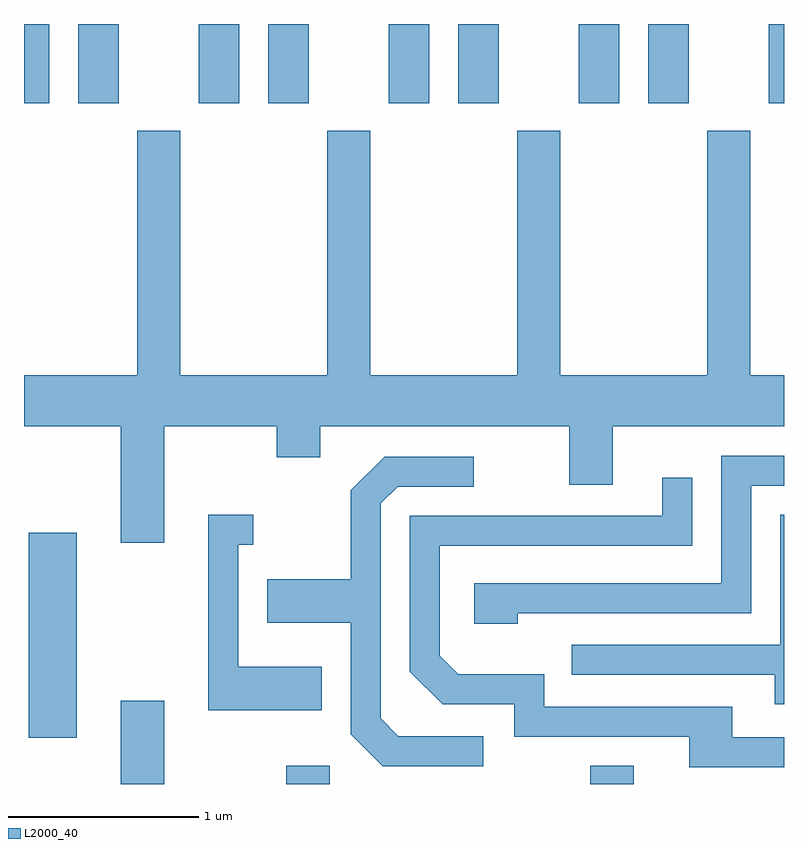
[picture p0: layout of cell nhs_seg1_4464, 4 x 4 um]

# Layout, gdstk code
import gdstk
lib = gdstk.Library(unit=1e-6, precision=1e-09)
def R(c, l, rs):  # rectangles x0, y0, x1, y1
    for r in rs: c.add(gdstk.rectangle(r[:2], r[2:], *l))
def P(c, l, *ps):  # polygons
    for p in ps: c.add(gdstk.Polygon(p, *l))
L2000_40 = (2000, 40)

nhs_seg1_4464 = lib.new_cell('nhs_seg1_4464')
R(nhs_seg1_4464, L2000_40, [(320.121,877.712,320.349,878.149), (320.991,877.712,321.219,877.809), (322.591,877.712,322.819,877.809), (319.636,877.956,319.889,879.034), (319.611,881.296,319.744,881.712), (319.896,881.296,320.109,881.712), (320.531,881.296,320.744,881.712), (320.896,881.296,321.109,881.712), (321.531,881.296,321.744,881.712), (321.896,881.296,322.109,881.712), (322.531,881.296,322.744,881.712), (322.896,881.296,323.109,881.712), (323.531,881.296,323.611,881.712)])
P(nhs_seg1_4464, L2000_40, [(320.349,879.596),(320.941,879.596),(320.941,879.431),(321.169,879.431),(321.169,879.596),(322.481,879.596),(322.481,879.286),(322.709,879.286),(322.709,879.596),(323.611,879.596),(323.611,879.864),(323.434,879.864),(323.434,881.149),(323.206,881.149),(323.206,879.864),(322.434,879.864),(322.434,881.149),(322.206,881.149),(322.206,879.864),(321.434,879.864),(321.434,881.149),(321.206,881.149),(321.206,879.864),(320.434,879.864),(320.434,881.149),(320.206,881.149),(320.206,879.864),(319.611,879.864),(319.611,879.596),(320.121,879.596),(320.121,878.981),(320.349,878.981)],
  [(322.209,878.611),(323.439,878.611),(323.439,879.281),(323.611,879.281),(323.611,879.439),(323.281,879.439),(323.281,878.769),(321.981,878.769),(321.981,878.556),(322.209,878.556)],
  [(322.028,877.964),(321.582,877.964),(321.489,878.057),(321.489,879.189),(321.577,879.276),(321.978,879.276),(321.978,879.434),(321.509,879.434),(321.331,879.257),(321.331,878.789),(320.891,878.789),(320.891,878.561),(321.331,878.561),(321.331,877.974),(321.499,877.806),(322.028,877.806)],
  [(323.611,877.959),(323.339,877.959),(323.339,878.119),(322.349,878.119),(322.349,878.289),(321.897,878.289),(321.799,878.387),(321.799,878.966),(323.129,878.966),(323.129,879.323),(322.971,879.323),(322.971,879.124),(321.641,879.124),(321.641,878.304),(321.814,878.131),(322.191,878.131),(322.191,877.961),(323.111,877.961),(323.111,877.801),(323.611,877.801)],
  [(323.611,879.129),(323.591,879.129),(323.591,878.444),(322.493,878.444),(322.493,878.286),(323.561,878.286),(323.561,878.131),(323.611,878.131)],
  [(321.179,878.329),(320.739,878.329),(320.739,878.971),(320.818,878.971),(320.818,879.129),(320.581,879.129),(320.581,878.101),(321.179,878.101)])

lib.write_gds('nhs_seg1_4464.gds')
